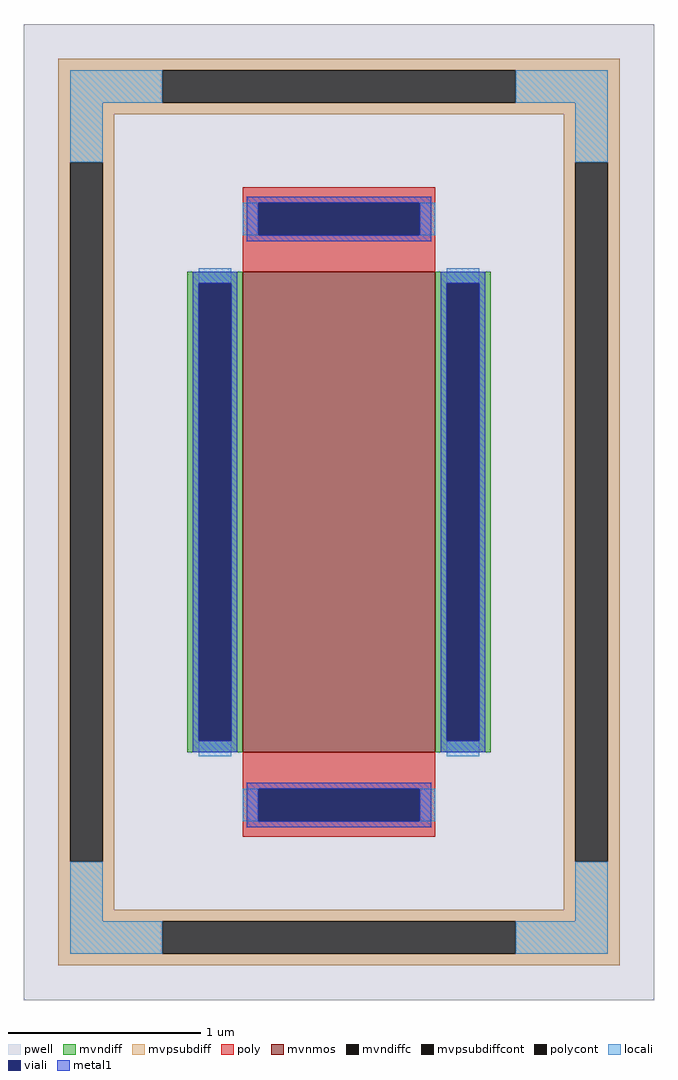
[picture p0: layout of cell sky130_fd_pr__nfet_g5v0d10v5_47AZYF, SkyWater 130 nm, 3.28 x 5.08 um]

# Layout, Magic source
magic
tech sky130A
<< pwell >>
rect -164 -254 164 254
<< mvnmos >>
rect -50 -125 50 125
<< mvndiff >>
rect -79 119 -50 125
rect -79 -119 -73 119
rect -56 -119 -50 119
rect -79 -125 -50 -119
rect 50 119 79 125
rect 50 -119 56 119
rect 73 -119 79 119
rect 50 -125 79 -119
<< mvndiffc >>
rect -73 -119 -56 119
rect 56 -119 73 119
<< mvpsubdiff >>
rect -146 230 146 236
rect -146 213 -92 230
rect 92 213 146 230
rect -146 207 146 213
rect -146 182 -117 207
rect -146 -182 -140 182
rect -123 -182 -117 182
rect 117 182 146 207
rect -146 -207 -117 -182
rect 117 -182 123 182
rect 140 -182 146 182
rect 117 -207 146 -182
rect -146 -213 146 -207
rect -146 -230 -92 -213
rect 92 -230 146 -213
rect -146 -236 146 -230
<< mvpsubdiffcont >>
rect -92 213 92 230
rect -140 -182 -123 182
rect 123 -182 140 182
rect -92 -230 92 -213
<< poly >>
rect -50 161 50 169
rect -50 144 -42 161
rect 42 144 50 161
rect -50 125 50 144
rect -50 -144 50 -125
rect -50 -161 -42 -144
rect 42 -161 50 -144
rect -50 -169 50 -161
<< polycont >>
rect -42 144 42 161
rect -42 -161 42 -144
<< locali >>
rect -140 213 -92 230
rect 92 213 140 230
rect -140 182 -123 213
rect 123 182 140 213
rect -50 144 -42 161
rect 42 144 50 161
rect -73 119 -56 127
rect -73 -127 -56 -119
rect 56 119 73 127
rect 56 -127 73 -119
rect -50 -161 -42 -144
rect 42 -161 50 -144
rect -140 -213 -123 -182
rect 123 -213 140 -182
rect -140 -230 -92 -213
rect 92 -230 140 -213
<< viali >>
rect -42 144 42 161
rect -73 -119 -56 119
rect 56 -119 73 119
rect -42 -161 42 -144
<< metal1 >>
rect -48 161 48 164
rect -48 144 -42 161
rect 42 144 48 161
rect -48 141 48 144
rect -76 119 -53 125
rect -76 -119 -73 119
rect -56 -119 -53 119
rect -76 -125 -53 -119
rect 53 119 76 125
rect 53 -119 56 119
rect 73 -119 76 119
rect 53 -125 76 -119
rect -48 -144 48 -141
rect -48 -161 -42 -144
rect 42 -161 48 -144
rect -48 -164 48 -161
<< properties >>
string FIXED_BBOX -131 -221 131 221
string gencell sky130_fd_pr__nfet_g5v0d10v5
string library sky130
string parameters w 2.5 l 1.0 m 1 nf 1 diffcov 100 polycov 100 guard 1 glc 1 grc 1 gtc 1 gbc 1 tbcov 100 rlcov 100 topc 1 botc 1 poverlap 0 doverlap 1 lmin 0.50 wmin 0.42 class mosfet compatible {sky130_fd_pr__nfet_01v8 sky130_fd_pr__nfet_01v8_lvt  sky130_fd_bs_flash__special_sonosfet_star  sky130_fd_pr__nfet_g5v0d10v5 sky130_fd_pr__nfet_05v0_nvt  sky130_fd_pr__nfet_03v3_nvt} full_metal 1 viasrc 100 viadrn 100 viagate 100 viagb 0 viagr 0 viagl 0 viagt 0
<< end >>
